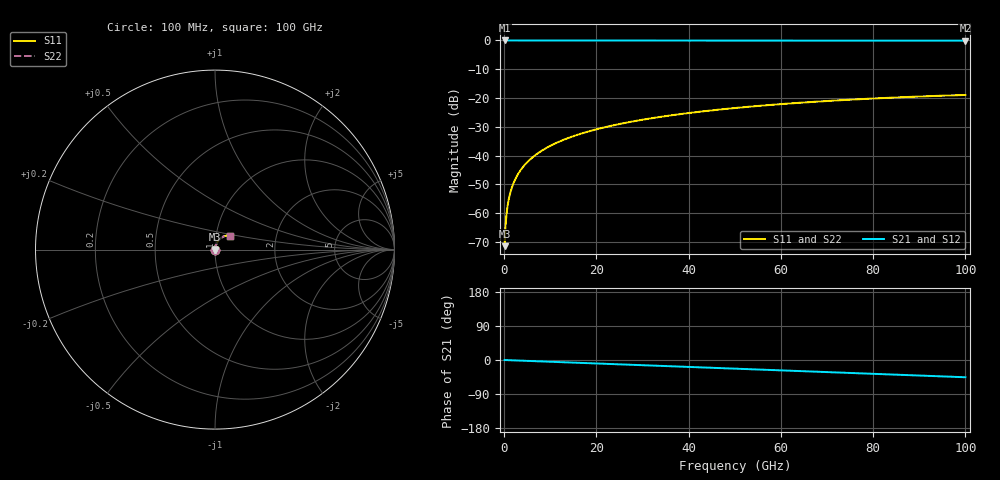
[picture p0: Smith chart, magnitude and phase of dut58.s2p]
! Touchstone file exported from HFSS 2026.1.0
!  File:  C:/ffzhzh/LocalFiles/Ansys_Project_Files/temp_train_TSV_58_1783505050_9504.aedt
!  Generated:  06:05:23 PM Jul  8, 2026
!  Design:  TSV
!  Project:  temp_train_TSV_58_1783505050_9504
! Variables:
!  h_bsmrdl = 2um
!  h_ox = 20um
!  h_rdl = 5um
!  h_sub = 91.85um
!  h_tmrdl = 5um
!  h_tsv = 91.85um
!  h_via = 3um
!  l_bsmrdl = 300um
!  l_sub = 416.8um
!  l_tmrdl = 200um
!  m_sub = 200um
!  pitch = 42.7um
!  r_tsv = 8.4um
!  s_tmrdl = 10um
!  w_bsmrdl = 18um
!  w_sub = 500um
!  w_tmrdl = 12um
!  x_tsv_center1 = 206um
!  x_tsv_center2 = 524um
!  x_tsv_center3 = 736um
!  x_tsv_center4 = 1054um
!  x_tsv_center5 = 1266um
!  x_tsv_center6 = 1584um
# GHz S MA R 50.000000
! Terminal data exported
! Port[1] = TSV1_1_T1
! Port[2] = TSV1_1_T2
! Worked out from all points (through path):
!   1000 points, 100 MHz to 100 GHz, reference 50 ohm
!   highest |S21| = 0.00 dB at 100 MHz (marker M1); lowest = -0.1 dB at 100 GHz (marker M2)
!   group delay of S21, straight-line fit = 1.26 ps
!   lowest |S11| = -71.5 dB at 100 MHz (marker M3), VSWR 1.00, Z = 50 + j0.0192 ohm
!   |S11| at or under -10 dB: start of sweep to end of sweep
!   |S22| runs from -71.5 to -18.9 dB; largest |S21 - S12| = 4.5e-15
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0.1  0.0002667 45.9  0.9998 -0.0  0.9998 -0.0  0.0002667 45.9
! Gamma 0 0 0 0
! Port Impedance 50 0 50 0
0.4  0.0007744 71.7  0.9998 -0.2  0.9998 -0.2  0.0007744 71.7
0.7  0.001269 75.7  0.9997 -0.3  0.9997 -0.3  0.001269 75.7
0.8  0.001428 76.5  0.9997 -0.4  0.9997 -0.4  0.001428 76.5
1.1  0.001899 78.1  0.9996 -0.5  0.9996 -0.5  0.001899 78.1
1.4  0.002362 79.1  0.9996 -0.7  0.9996 -0.7  0.002362 79.1
1.9  0.003124 80.1  0.9995 -0.9  0.9995 -0.9  0.003124 80.1
2.4  0.003873 80.6  0.9994 -1.1  0.9994 -1.1  0.003873 80.6
3.1  0.004904 81.1  0.9993 -1.4  0.9993 -1.4  0.004904 81.1
3.9  0.006067 81.4  0.9993 -1.8  0.9993 -1.8  0.006067 81.4
4.9  0.007507 81.6  0.9992 -2.3  0.9992 -2.3  0.007507 81.6
6.1  0.009226 81.6  0.9991 -2.8  0.9991 -2.8  0.009226 81.6
8.9  0.0132 81.2  0.9988 -4.1  0.9988 -4.1  0.0132 81.2
12.4  0.01811 80.2  0.9985 -5.7  0.9985 -5.7  0.01811 80.2
16.8  0.0242 78.7  0.9982 -7.7  0.9982 -7.7  0.0242 78.7
24.2  0.03427 75.9  0.9976 -11.1  0.9976 -11.1  0.03427 75.9
33.4  0.04642 72.1  0.9968 -15.3  0.9968 -15.3  0.04642 72.1
41.2  0.05632 68.8  0.9961 -18.9  0.9961 -18.9  0.05632 68.8
50.1  0.06709 65.0  0.9952 -22.9  0.9952 -22.9  0.06709 65.0
66.7  0.0854 57.7  0.9934 -30.4  0.9934 -30.4  0.0854 57.7
83.4  0.101 50.3  0.9916 -38.0  0.9916 -38.0  0.101 50.3
100  0.113 43.0  0.9899 -45.5  0.9899 -45.5  0.113 43.0
